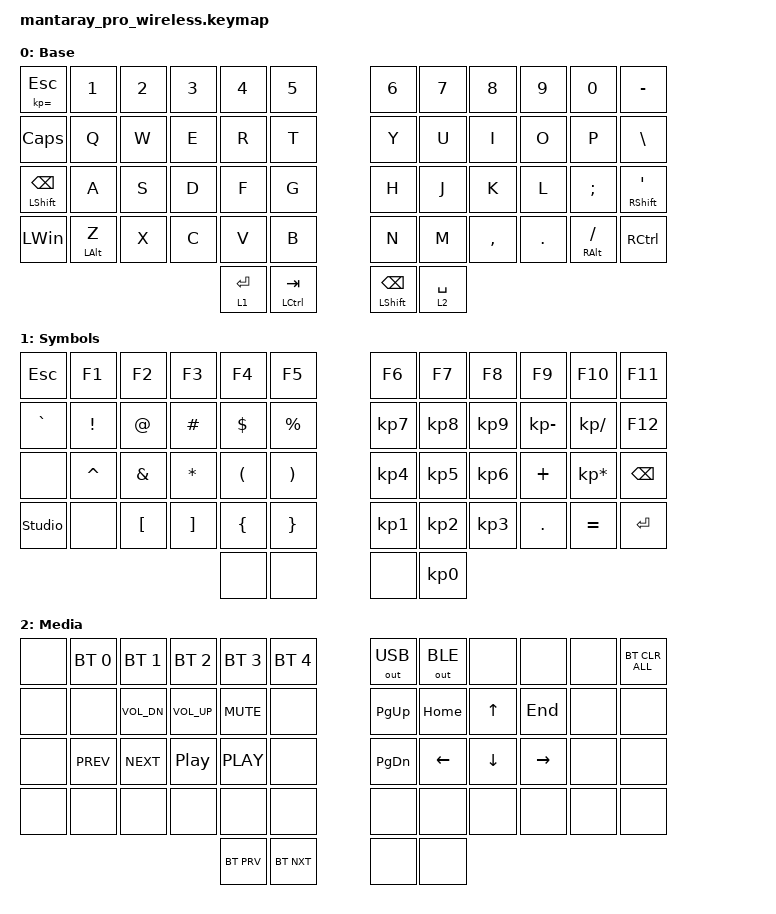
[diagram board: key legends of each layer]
#include <behaviors.dtsi>
#include <dt-bindings/zmk/keys.h>
#include <dt-bindings/zmk/bt.h>
#include <dt-bindings/zmk/outputs.h>

/ {

    keymap {
        compatible = "zmk,keymap";

        default_layer { // Layer 0
            display-name = "Base";
            bindings = <
                &mt KP_EQUAL ESC  &kp N1 &kp N2 &kp N3 &kp N4 &kp N5   &kp N6 &kp N7  &kp N8     &kp N9   &kp N0    &kp MINUS
                &kp CAPS &kp Q &kp W &kp E &kp R &kp T   &kp Y &kp U  &kp I     &kp O   &kp P &kp BACKSLASH
                &mt LSHIFT BACKSPACE &kp A &kp S &kp D &kp F &kp G   &kp H &kp J  &kp K &kp L &kp SEMICOLON &mt RSHFT SINGLE_QUOTE
                &kp LWIN &mt LALT Z  &kp X &kp C &kp V &kp B   &kp N &kp M  &kp COMMA &kp DOT &mt RALT FSLH &kp RCTRL
                &lt 1 ENTER &mt LCTRL TAB &mt LSHIFT BACKSPACE &lt 2 SPACE 
            >;
        };

        symbols_layer { // Layer 1
            display-name = "Symbols";
            bindings = <
                &kp ESC  &kp F1 &kp F2 &kp F3 &kp F4 &kp F5   &kp F6 &kp F7  &kp F8     &kp F9   &kp F10    &kp F11
                &kp GRAVE &kp EXCLAMATION &kp AT_SIGN &kp HASH &kp DOLLAR &kp PERCENT   &kp KP_N7 &kp KP_N8  &kp KP_N9     &kp KP_MINUS   &kp KP_DIVIDE &kp F12
                &none &kp CARET &kp AMPS &kp ASTRK &kp LPAR &kp RPAR   &kp KP_N4 &kp KP_N5  &kp KP_N6 &kp PLUS &kp KP_MULTIPLY &kp BSPC
                &studio_unlock &none  &kp LBKT &kp RBKT &kp LBRC &kp RBRC   &kp KP_N1 &kp KP_N2  &kp KP_N3 &kp DOT &kp EQUAL &kp ENTER
                &none &none &none &kp KP_N0
            >;
        };

        media_layer { // Layer 2
            display-name = "Media";
            bindings = <
                &none  &bt BT_SEL 0 &bt BT_SEL 1 &bt BT_SEL 2 &bt BT_SEL 3 &bt BT_SEL 4   &out OUT_USB &out OUT_BLE  &none     &none   &none    &bt BT_CLR_ALL
                &none &none &kp C_VOL_DN &kp C_VOL_UP &kp C_MUTE &none   &kp PG_UP &kp HOME  &kp UP     &kp END   &none &none
                &none &kp C_PREV &kp C_NEXT &kp C_PP &kp C_PLAY &none &kp PG_DN   &kp LEFT &kp DOWN  &kp RIGHT &none &none
                &none &none  &none &none &none &none   &none &none  &none &none &none &none
                &bt BT_PRV &bt BT_NXT &none &none
            >;
        };

        extra1 {
            status = "reserved";
        };

        extra2 {
            status = "reserved";
        };
    };

    combos {
        compatible = "zmk,combos";

        combo_clear_bt {
            timeout-ms = <50>; // The keys must be pressed within 50ms of each other
            key-positions = <13 22>; // Use key positions 13 (Q) and 22 (P)
            bindings = <&bt BT_CLR>;
            // To make the combo trigger only on hold, uncomment the line below
            require-prior-idle-ms = <200>;
        };
    };
 };
